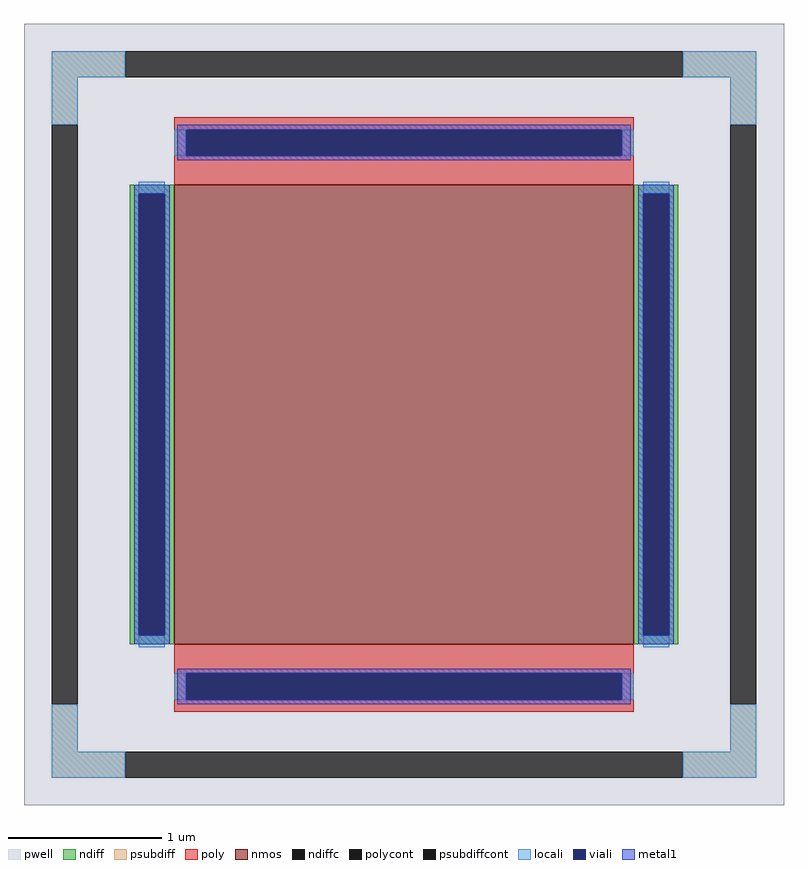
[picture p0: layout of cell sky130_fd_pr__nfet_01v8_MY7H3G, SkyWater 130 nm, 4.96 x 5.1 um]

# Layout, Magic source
magic
tech sky130A
<< pwell >>
rect -248 -255 248 255
<< nmos >>
rect -150 -150 150 150
<< ndiff >>
rect -179 144 -150 150
rect -179 -144 -173 144
rect -156 -144 -150 144
rect -179 -150 -150 -144
rect 150 144 179 150
rect 150 -144 156 144
rect 173 -144 179 144
rect 150 -150 179 -144
<< ndiffc >>
rect -173 -144 -156 144
rect 156 -144 173 144
<< psubdiff >>
rect -230 220 -182 237
rect 182 220 230 237
rect -230 189 -213 220
rect 213 189 230 220
rect -230 -220 -213 -189
rect 213 -220 230 -189
rect -230 -237 -182 -220
rect 182 -237 230 -220
<< psubdiffcont >>
rect -182 220 182 237
rect -230 -189 -213 189
rect 213 -189 230 189
rect -182 -237 182 -220
<< poly >>
rect -150 186 150 194
rect -150 169 -142 186
rect 142 169 150 186
rect -150 150 150 169
rect -150 -169 150 -150
rect -150 -186 -142 -169
rect 142 -186 150 -169
rect -150 -194 150 -186
<< polycont >>
rect -142 169 142 186
rect -142 -186 142 -169
<< locali >>
rect -230 220 -182 237
rect 182 220 230 237
rect -230 189 -213 220
rect 213 189 230 220
rect -150 169 -142 186
rect 142 169 150 186
rect -173 144 -156 152
rect -173 -152 -156 -144
rect 156 144 173 152
rect 156 -152 173 -144
rect -150 -186 -142 -169
rect 142 -186 150 -169
rect -230 -220 -213 -189
rect 213 -220 230 -189
rect -230 -237 -182 -220
rect 182 -237 230 -220
<< viali >>
rect -142 169 142 186
rect -173 -144 -156 144
rect 156 -144 173 144
rect -142 -186 142 -169
<< metal1 >>
rect -148 186 148 189
rect -148 169 -142 186
rect 142 169 148 186
rect -148 166 148 169
rect -176 144 -153 150
rect -176 -144 -173 144
rect -156 -144 -153 144
rect -176 -150 -153 -144
rect 153 144 176 150
rect 153 -144 156 144
rect 173 -144 176 144
rect 153 -150 176 -144
rect -148 -169 148 -166
rect -148 -186 -142 -169
rect 142 -186 148 -169
rect -148 -189 148 -186
<< properties >>
string FIXED_BBOX -221 -228 221 228
string gencell sky130_fd_pr__nfet_01v8
string library sky130
string parameters w 3 l 3 m 1 nf 1 diffcov 100 polycov 100 guard 1 glc 1 grc 1 gtc 1 gbc 1 tbcov 100 rlcov 100 topc 1 botc 1 poverlap 0 doverlap 1 lmin 0.15 wmin 0.42 compatible {sky130_fd_pr__nfet_01v8 sky130_fd_pr__nfet_01v8_lvt  sky130_fd_bs_flash__special_sonosfet_star  sky130_fd_pr__nfet_g5v0d10v5 sky130_fd_pr__nfet_05v0_nvt  sky130_fd_pr__nfet_03v3_nvt} full_metal 1 viasrc 100 viadrn 100 viagate 100 viagb 0 viagr 0 viagl 0 viagt 0
<< end >>
